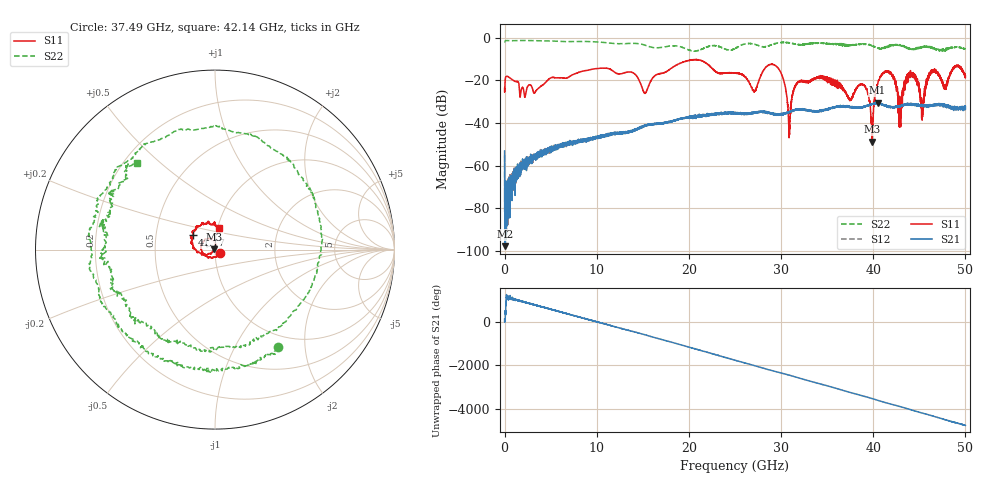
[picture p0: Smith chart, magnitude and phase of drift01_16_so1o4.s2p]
!Created with skrf (http://scikit-rf.org).
# Hz S RI R 50.0
!freq ReS11 ImS11 ReS21 ImS21 ReS12 ImS12 ReS22 ImS22
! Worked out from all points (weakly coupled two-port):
!   10001 points, 300 kHz to 50 GHz, reference 50 ohm
!   highest |S21| = -30.49 dB at 40.47 GHz (marker M1); lowest = -97.7 dB at 80.3 MHz (marker M2)
!   lowest |S11| = -48.8 dB at 39.87 GHz (marker M3), VSWR 1.01, Z = 49.7 + j0.0985 ohm
!   |S11| at or under -10 dB: start of sweep to end of sweep
!   |S22| runs from -6.5 to -1.4 dB; largest |S21 - S12| = 0.0038
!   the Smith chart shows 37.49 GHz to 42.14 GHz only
!   S11 on the Smith chart (normalised r, x): 37.49 GHz: 1.06, -0.04; 41.17 GHz: 0.77, +0.12; 42.14 GHz: 1.02, +0.24
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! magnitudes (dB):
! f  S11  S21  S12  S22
! 300 kHz  -23.8  -53.2  -55.4  -2.1
! 80.3 MHz  -19.2  -97.7  -71.3  -1.5
! 8.335 GHz  -15.9  -48.8  -48.5  -1.8
! 16.67 GHz  -17.1  -40.1  -40.4  -4.8
! 25 GHz  -16.6  -35.6  -35.5  -5.1
! 27.1 GHz  -25.3  -35.4  -35.1  -3.2
! 29.42 GHz  -13.2  -36.1  -36.1  -2.7
! 30.91 GHz  -43.9  -34.8  -34.9  -2.6
! 31.66 GHz  -21.8  -33.7  -33.8  -3.2
! 33.34 GHz  -19.7  -34.5  -34.4  -2.7
! 37.49 GHz  -29.3  -32.5  -32.4  -3.8
! 38.95 GHz  -22.0  -32.6  -32.6  -3.1
! 39.87 GHz  -48.8  -31.2  -31.1  -3.7
! 40.47 GHz  -22.0  -30.5  -30.7  -4.9
! 41.17 GHz  -16.6  -31.7  -31.6  -4.9
! 41.67 GHz  -16.3  -32.3  -32.4  -4.2
! 42.14 GHz  -18.4  -32.8  -32.6  -3.8
! 42.91 GHz  -29.8  -31.9  -32.2  -3.5
! 44.07 GHz  -18.1  -31.3  -31.2  -5.3
! 45.31 GHz  -36.4  -32.0  -32.0  -4.4
! 46.42 GHz  -15.3  -31.7  -31.6  -4.8
! 50 GHz  -18.0  -33.5  -32.9  -5.4
